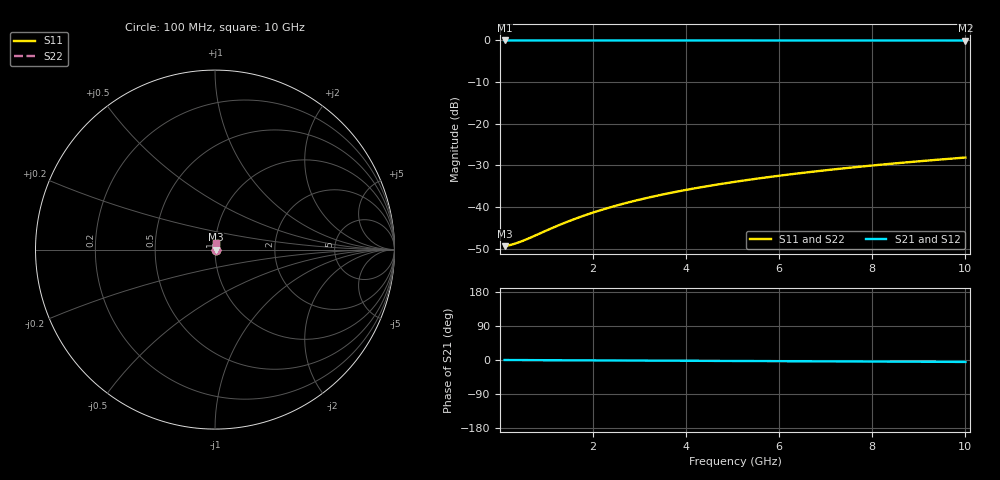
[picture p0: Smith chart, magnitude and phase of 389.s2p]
# Hz S RI R 50.00
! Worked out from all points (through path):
!   100 points, 100 MHz to 10 GHz, reference 50 ohm
!   highest |S21| = -0.03 dB at 100 MHz (marker M1); lowest = 0.0 dB at 10 GHz (marker M2)
!   lowest |S11| = -49.4 dB at 100 MHz (marker M3), VSWR 1.01, Z = 50.3 + j0.0392 ohm
!   |S11| at or under -10 dB: start of sweep to end of sweep
!   |S22| runs from -49.4 to -28.1 dB; largest |S21 - S12| = 0
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1e8  0.00338 0.000389  0.9966 -0.000887  0.9966 -0.000887  0.00338 0.000389
2e8  0.0034 0.000778  0.9966 -0.00177  0.9966 -0.00177  0.0034 0.000778
3e8  0.00342 0.00117  0.9966 -0.00266  0.9966 -0.00266  0.00342 0.00117
4e8  0.00344 0.00156  0.9966 -0.00355  0.9966 -0.00355  0.00344 0.00156
5e8  0.00345 0.00195  0.9965 -0.00443  0.9965 -0.00443  0.00345 0.00195
1.3e9  0.00356 0.00506  0.9964 -0.0115  0.9964 -0.0115  0.00356 0.00506
1.5e9  0.00359 0.00584  0.9964 -0.0133  0.9964 -0.0133  0.00359 0.00584
1.8e9  0.00364 0.007  0.9963 -0.016  0.9963 -0.016  0.00364 0.007
2.1e9  0.00369 0.00817  0.9962 -0.0186  0.9962 -0.0186  0.00369 0.00817
2.5e9  0.00377 0.00972  0.9961 -0.0222  0.9961 -0.0222  0.00377 0.00972
2.9e9  0.00386 0.0113  0.996 -0.0257  0.996 -0.0257  0.00386 0.0113
3.4e9  0.00399 0.0132  0.9959 -0.0301  0.9959 -0.0301  0.00399 0.0132
3.8e9  0.0041 0.0148  0.9957 -0.0337  0.9957 -0.0337  0.0041 0.0148
4.2e9  0.00422 0.0163  0.9955 -0.0372  0.9955 -0.0372  0.00422 0.0163
4.6e9  0.00435 0.0179  0.9954 -0.0408  0.9954 -0.0408  0.00435 0.0179
5.1e9  0.00454 0.0198  0.9951 -0.0452  0.9951 -0.0452  0.00454 0.0198
5.9e9  0.00486 0.0229  0.9947 -0.0523  0.9947 -0.0523  0.00486 0.0229
6.7e9  0.00523 0.026  0.9942 -0.0593  0.9942 -0.0593  0.00523 0.026
7.5e9  0.00564 0.0291  0.9936 -0.0664  0.9936 -0.0664  0.00564 0.0291
8.4e9  0.00616 0.0325  0.9929 -0.0744  0.9929 -0.0744  0.00616 0.0325
9.2e9  0.00666 0.0356  0.9922 -0.0814  0.9922 -0.0814  0.00666 0.0356
1e10  0.00721 0.0387  0.9915 -0.0885  0.9915 -0.0885  0.00721 0.0387
